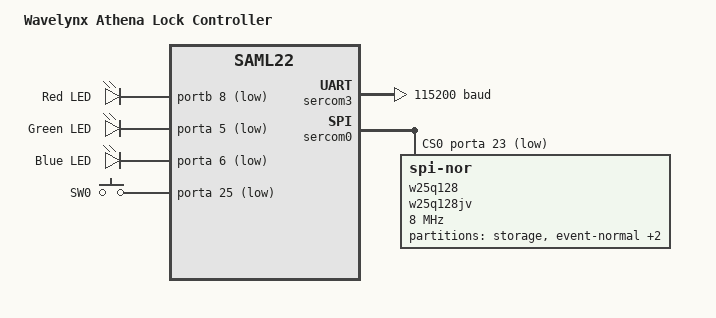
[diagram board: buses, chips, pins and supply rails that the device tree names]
/*
 * Copyright (c) Z9 Security
 */

/dts-v1/;
#include <atmel/saml22.dtsi>
#include "wl_athena-pinctrl.dtsi"
#include <zephyr/dt-bindings/input/input-event-codes.h>
#include <dt-bindings/pinctrl/saml22g-pinctrl.h>

/ {
	model = "Wavelynx Athena Lock Controller";
	//compatible = "atsaml22,xpro", "atmel,saml22g17a", "atmel,saml22";
	compatible = "atmel,saml22g17a", "atmel,saml22";

	chosen {
		zephyr,sram = &sram0;
		zephyr,flash = &flash0;
	};

	/* These aliases are provided for compatibility with samples */
	aliases {
		led0 = &led0;
		sw0 = &user_button;
		z9io-serial = &sercom3;
	};

	leds {
		compatible = "gpio-leds";
		led0: led_0 {
			gpios = <&portb 8 GPIO_ACTIVE_LOW>;
			label = "Red LED";
		};
		led1: led_1 {
			gpios = <&porta 5 GPIO_ACTIVE_LOW>;
			label = "Green LED";
		};
		led2: led_2 {
			gpios = <&porta 6 GPIO_ACTIVE_LOW>;
			label = "Blue LED";
		};
	};

	buttons {
		compatible = "gpio-keys";
		user_button: button_0 {
			gpios = <&porta 25 (GPIO_PULL_UP | GPIO_ACTIVE_LOW)>;
			label = "SW0";
			zephyr,code = <INPUT_KEY_0>;
		};
	};
};

&sercom3 {
    current-speed = <9600>;
    status = "okay";
};

&cpu0 {
	clock-frequency = <48000000>;
};

&adc {
	status = "disabled";
};

&tcc0 {
	status = "disabled";
	compatible = "atmel,sam0-tcc-pwm";
	/* Gives a maximum period of 1.4s */
	prescaler = <4>;
	#pwm-cells = <2>;

	//pinctrl-0 = <&tcc0_default>;
	//pinctrl-names = "default";
};

&sercom0 {
	status = "okay";
	compatible = "atmel,sam0-spi";
	dipo = <2>;
	dopo = <0>;
	#address-cells = <1>;
	#size-cells = <0>;

	cs-gpios = <&porta 23 GPIO_ACTIVE_LOW>;

	pinctrl-0 = <&sercom0_default>;
	pinctrl-names = "default";
};

&sercom1 {
	status = "disabled";
	//pinctrl-0 = <&sercom1_default>;
	//pinctrl-names = "default";
};

&sercom2 {
	status = "disabled";
	
	compatible = "atmel,sam0-spi";
	dipo = <0>;
	dopo = <1>;
	#address-cells = <1>;
	#size-cells = <0>;
	
	//pinctrl-0 = <&sercom2_default>;
	//pinctrl-names = "default";
};

&sercom3 {
	status = "okay";
	compatible = "atmel,sam0-uart";
	current-speed = <115200>;
	rxpo = <1>;
	txpo = <0>;

	//pinctrl-names = "default";
};

&sercom0 {
	w25q128: w25q128jv@0 {
			compatible = "jedec,spi-nor";
			reg = <0>;
			spi-max-frequency = <8000000>;
			jedec-id = [ef 40 18];
/* 			sfdp-bfp = [e5 20 f1 ff ff ff ff 03 44 eb 08 6b
						08 3b 04 bb ee ff ff ff ff ff 00 ff
						ff ff 00 ff 0c 20 0f 52 10 d8 00 ff
						23 72 f5 00 82 ed 04 cc 44 83 68 44
						30 b0 30 b0 f7 c4 d5 5c 00 be 29 ff
						f0 d0 ff ff];
*/
			size = <134217728>;
			has-dpd;
			t-enter-dpd = <10000>;
			t-exit-dpd = <35000>;
	};
};

&w25q128 {

	partitions {
		compatible = "fixed-partitions";
		#address-cells = <1>;
		#size-cells = <1>;

        storage_partition: partition@20000 {
                label = "storage";
                reg = <0x00020000 0x00008000>;
        };
		event_normal_partition: partition@28000 {
			label = "event-normal";
			reg = <0x00028000 0x0008000>;
		};
		event_priority_partition: partition@30000 {
			label = "event-priority";
			reg = <0x00030000 0x0008000>;
		};
		credentials: partition@38000 {
			label = "credentials";
			reg = <0x00038000 0x0008000>;
		};
    };
};

